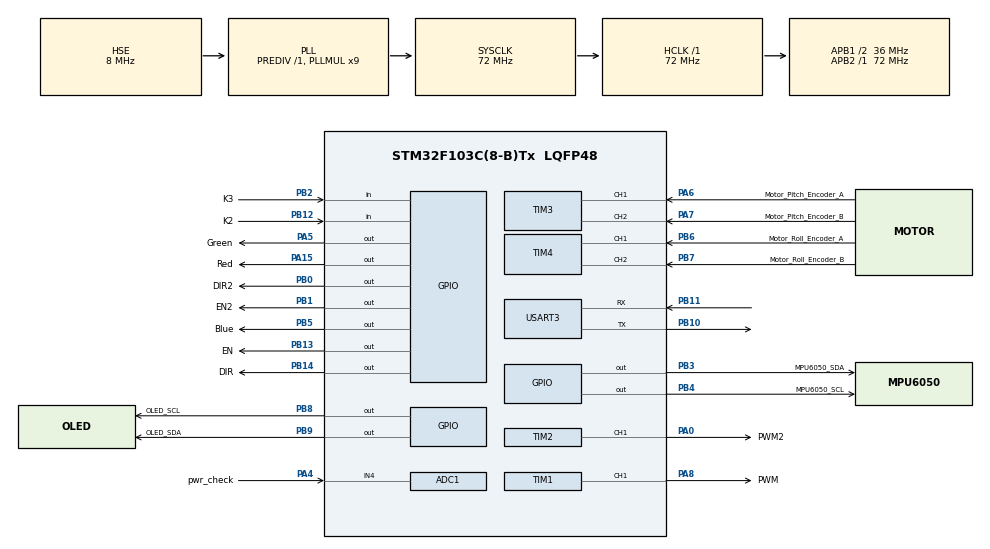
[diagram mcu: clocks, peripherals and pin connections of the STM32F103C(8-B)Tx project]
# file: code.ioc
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ADC1.Channel-0\#ChannelRegularConversion=ADC_CHANNEL_4
ADC1.ContinuousConvMode=DISABLE
ADC1.NbrOfConversion=1
ADC1.NbrOfConversionFlag=1
ADC1.Rank-0\#ChannelRegularConversion=1
ADC1.SamplingTime-0\#ChannelRegularConversion=ADC_SAMPLETIME_1CYCLE_5
ADC1.master=1
Dma.ADC1.0.Direction=DMA_PERIPH_TO_MEMORY
Dma.ADC1.0.Instance=DMA1_Channel1
Dma.ADC1.0.MemDataAlignment=DMA_MDATAALIGN_HALFWORD
Dma.ADC1.0.MemInc=DMA_MINC_ENABLE
Dma.ADC1.0.Mode=DMA_CIRCULAR
Dma.ADC1.0.PeriphDataAlignment=DMA_PDATAALIGN_HALFWORD
Dma.ADC1.0.PeriphInc=DMA_PINC_DISABLE
Dma.ADC1.0.Priority=DMA_PRIORITY_LOW
Dma.Request0=ADC1
Mcu.Family=STM32F1
Mcu.Name=STM32F103C(8-B)Tx
Mcu.Package=LQFP48
NVIC.DMA1_Channel1_IRQn=true\:3\:0\:true\:false\:true\:false\:true\:true
NVIC.PriorityGroup=NVIC_PRIORITYGROUP_4
NVIC.USART3_IRQn=true\:2\:0\:true\:false\:true\:true\:true\:true
PA0-WKUP.GPIO_Label=PWM2
PA0-WKUP.GPIO_Speed=GPIO_SPEED_FREQ_LOW
PA0-WKUP.Signal=S_TIM2_CH1_ETR
PA13.Mode=Serial_Wire
PA13.Signal=SYS_JTMS-SWDIO
PA14.Mode=Serial_Wire
PA14.Signal=SYS_JTCK-SWCLK
PA15.GPIO_Label=Red
PA15.PinState=GPIO_PIN_SET
PA15.Signal=GPIO_Output
PA4.GPIO_Label=pwr_check
PA4.Signal=ADCx_IN4
PA5.GPIO_Label=Green
PA5.PinState=GPIO_PIN_SET
PA5.Signal=GPIO_Output
PA6.GPIO_Label=Motor_Pitch_Encoder_A
PA6.GPIO_PuPd=GPIO_PULLUP
PA6.Signal=S_TIM3_CH1
PA7.GPIO_Label=Motor_Pitch_Encoder_B
PA7.GPIO_PuPd=GPIO_PULLUP
PA7.Signal=S_TIM3_CH2
PA8.GPIO_Label=PWM
PA8.Signal=S_TIM1_CH1
PB0.GPIO_Label=DIR2
PB0.Signal=GPIO_Output
PB1.GPIO_Label=EN2
PB1.Signal=GPIO_Output
PB10.Mode=Asynchronous
PB10.Signal=USART3_TX
PB11.Mode=Asynchronous
PB11.Signal=USART3_RX
PB12.GPIO_Label=K2
PB12.GPIO_PuPd=GPIO_PULLUP
PB12.Signal=GPIO_Input
PB13.GPIO_Label=EN
PB13.Signal=GPIO_Output
PB14.GPIO_Label=DIR
PB14.Signal=GPIO_Output
PB2.GPIO_Label=K3
PB2.GPIO_PuPd=GPIO_PULLUP
PB2.Signal=GPIO_Input
PB3.GPIO_Label=MPU6050_SDA
PB3.GPIO_Speed=GPIO_SPEED_FREQ_HIGH
PB3.PinState=GPIO_PIN_SET
PB3.Signal=GPIO_Output
PB4.GPIO_Label=MPU6050_SCL
PB4.GPIO_Speed=GPIO_SPEED_FREQ_HIGH
PB4.PinState=GPIO_PIN_SET
PB4.Signal=GPIO_Output
PB5.GPIO_Label=Blue
PB5.PinState=GPIO_PIN_SET
PB5.Signal=GPIO_Output
PB6.GPIO_Label=Motor_Roll_Encoder_A
PB6.GPIO_PuPd=GPIO_PULLUP
PB6.Signal=S_TIM4_CH1
PB7.GPIO_Label=Motor_Roll_Encoder_B
PB7.GPIO_PuPd=GPIO_PULLUP
PB7.Signal=S_TIM4_CH2
PB8.GPIO_Label=OLED_SCL
PB8.GPIO_Speed=GPIO_SPEED_FREQ_HIGH
PB8.PinState=GPIO_PIN_SET
PB8.Signal=GPIO_Output
PB9.GPIO_Label=OLED_SDA
PB9.GPIO_Speed=GPIO_SPEED_FREQ_HIGH
PB9.Signal=GPIO_Output
PD0-OSC_IN.Mode=HSE-External-Oscillator
PD0-OSC_IN.Signal=RCC_OSC_IN
PD1-OSC_OUT.Mode=HSE-External-Oscillator
PD1-OSC_OUT.Signal=RCC_OSC_OUT
ProjectManager.HeapSize=0x200
ProjectManager.StackSize=0x400
ProjectManager.TargetToolchain=SW4STM32
RCC.ADCPresc=RCC_ADCPCLK2_DIV6
RCC.AHBFreq_Value=72000000
RCC.APB1CLKDivider=RCC_HCLK_DIV2
RCC.APB1Freq_Value=36000000
RCC.APB1TimFreq_Value=72000000
RCC.APB2Freq_Value=72000000
RCC.APB2TimFreq_Value=72000000
RCC.EnbaleCSS=true
RCC.HCLKFreq_Value=72000000
RCC.PLLMUL=RCC_PLL_MUL9
RCC.PLLSourceVirtual=RCC_PLLSOURCE_HSE
RCC.SYSCLKFreq_VALUE=72000000
RCC.SYSCLKSource=RCC_SYSCLKSOURCE_PLLCLK
RCC.USBFreq_Value=72000000
SH.ADCx_IN4.0=ADC1_IN4,IN4
SH.S_TIM1_CH1.0=TIM1_CH1,PWM Generation1 CH1
SH.S_TIM2_CH1_ETR.0=TIM2_CH1,PWM Generation1 CH1
SH.S_TIM3_CH1.0=TIM3_CH1,Encoder_Interface
SH.S_TIM3_CH2.0=TIM3_CH2,Encoder_Interface
SH.S_TIM4_CH1.0=TIM4_CH1,Encoder_Interface
SH.S_TIM4_CH2.0=TIM4_CH2,Encoder_Interface
TIM1.AutoReloadPreload=TIM_AUTORELOAD_PRELOAD_ENABLE
TIM1.Channel-PWM\ Generation1\ CH1=TIM_CHANNEL_1
TIM1.OCPolarity_1=TIM_OCPOLARITY_LOW
TIM1.Period=999
TIM1.Prescaler=7
TIM2.AutoReloadPreload=TIM_AUTORELOAD_PRELOAD_ENABLE
TIM2.Channel-PWM\ Generation1\ CH1=TIM_CHANNEL_1
TIM2.OCPolarity_1=TIM_OCPOLARITY_LOW
TIM2.Period=999
TIM2.Prescaler=7
TIM3.EncoderMode=TIM_ENCODERMODE_TI12
TIM4.EncoderMode=TIM_ENCODERMODE_TI12
USART3.VirtualMode=VM_ASYNC
board=custom

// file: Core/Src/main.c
/* USER CODE BEGIN Header */
/**
  ******************************************************************************
  * @file           : main.c
  * @brief          : Main program body
  ******************************************************************************
  * @attention
  *
  * Copyright (c) 2022 STMicroelectronics.
  * All rights reserved.
  *
  * This software is licensed under terms that can be found in the LICENSE file
  * in the root directory of this software component.
  * If no LICENSE file comes with this software, it is provided AS-IS.
  *
  ******************************************************************************
  */
/* USER CODE END Header */
#include "main.h"
#include "adc.h"
#include "dma.h"
#include "tim.h"
#include "usart.h"
#include "gpio.h"

/* USER CODE BEGIN Includes */
#include "debug.h"
#include "retarget.h"
#include "Motor.h"
/* USER CODE END Includes */

void SystemClock_Config(void);

/* USER CODE BEGIN 0 */
__IO  uint16_t time_count = 0;
/* USER CODE END 0 */

int main(void)
{
  /* USER CODE BEGIN 1 */
    float var_MPU6050[3] = {0};
    short var_MPUgyr[3] = {0};
  /* USER CODE END 1 */

  /* MCU Configuration--------------------------------------------------------*/

  /* Reset of all peripherals, Initializes the Flash interface and the Systick. */
  HAL_Init();

  /* Configure the system clock */
  SystemClock_Config();

  /* Initialize all configured peripherals */
  MX_GPIO_Init();
  MX_USART3_UART_Init();
  MX_ADC1_Init();
  MX_TIM1_Init();
  MX_TIM3_Init();
  MX_DMA_Init();
  MX_TIM4_Init();
  MX_TIM2_Init();
  /* USER CODE BEGIN 2 */
    RetargetInit(&huart3);
    OLED_Init();
    OLED_Clear();
    Motor_Init();
    //mpu_dmp_init();
    OLED_ShowString(0, 0, (uint8_t *) "Wait 3s....:", 12);
    //HAL_Delay(3000);
    OLED_Clear();
    OLED_show();

  /* USER CODE END 2 */

  /* Infinite loop */
    while (1) {

    /* USER CODE BEGIN 3 */
       // MPU_test();
        Motor_test();
        get_key();
        UART_ctrl();
        mpu_dmp_get_data(&var_MPU6050[0], &var_MPU6050[1], &var_MPU6050[2]);
        MPU_Get_Gyroscope(&var_MPUgyr[0],&var_MPUgyr[1],&var_MPUgyr[2]);
        //vcan_sendware((uint8_t *)var_MPUgyr, sizeof(var_MPUgyr));
        if (time_count > 5) {
            time_count = 0;
            get_Encoder();
            MPU_data_show(var_MPU6050);
            get_bat_vol();
            //Pitch_balance_ctrl((int16_t)0,var_MPU6050[0],var_MPUgyr[1]);
            //Roll_balance_ctrl((int16_t)0,var_MPU6050[1],var_MPUgyr[0]);
        }
    }
  /* USER CODE END 3 */
}

void SystemClock_Config(void)
{
  RCC_OscInitTypeDef RCC_OscInitStruct = {0};
  RCC_ClkInitTypeDef RCC_ClkInitStruct = {0};
  RCC_PeriphCLKInitTypeDef PeriphClkInit = {0};

  /** Initializes the RCC Oscillators according to the specified parameters
  * in the RCC_OscInitTypeDef structure.
  */
  RCC_OscInitStruct.OscillatorType = RCC_OSCILLATORTYPE_HSE;
  RCC_OscInitStruct.HSEState = RCC_HSE_ON;
  RCC_OscInitStruct.HSEPredivValue = RCC_HSE_PREDIV_DIV1;
  RCC_OscInitStruct.HSIState = RCC_HSI_ON;
  RCC_OscInitStruct.PLL.PLLState = RCC_PLL_ON;
  RCC_OscInitStruct.PLL.PLLSource = RCC_PLLSOURCE_HSE;
  RCC_OscInitStruct.PLL.PLLMUL = RCC_PLL_MUL9;
  if (HAL_RCC_OscConfig(&RCC_OscInitStruct) != HAL_OK)
  {
    Error_Handler();
  }

  /** Initializes the CPU, AHB and APB buses clocks
  */
  RCC_ClkInitStruct.ClockType = RCC_CLOCKTYPE_HCLK|RCC_CLOCKTYPE_SYSCLK
                              |RCC_CLOCKTYPE_PCLK1|RCC_CLOCKTYPE_PCLK2;
  RCC_ClkInitStruct.SYSCLKSource = RCC_SYSCLKSOURCE_PLLCLK;
  RCC_ClkInitStruct.AHBCLKDivider = RCC_SYSCLK_DIV1;
  RCC_ClkInitStruct.APB1CLKDivider = RCC_HCLK_DIV2;
  RCC_ClkInitStruct.APB2CLKDivider = RCC_HCLK_DIV1;

  if (HAL_RCC_ClockConfig(&RCC_ClkInitStruct, FLASH_LATENCY_2) != HAL_OK)
  {
    Error_Handler();
  }
  PeriphClkInit.PeriphClockSelection = RCC_PERIPHCLK_ADC;
  PeriphClkInit.AdcClockSelection = RCC_ADCPCLK2_DIV6;
  if (HAL_RCCEx_PeriphCLKConfig(&PeriphClkInit) != HAL_OK)
  {
    Error_Handler();
  }

  /** Enables the Clock Security System
  */
  HAL_RCC_EnableCSS();
}

/* USER CODE BEGIN 4 */
void HAL_SYSTICK_Callback(void)
{
    // �???1ms自动增一
    time_count++;

}
/* USER CODE END 4 */

void Error_Handler(void)
{
    __disable_irq();
    while (1) {
    }
}
